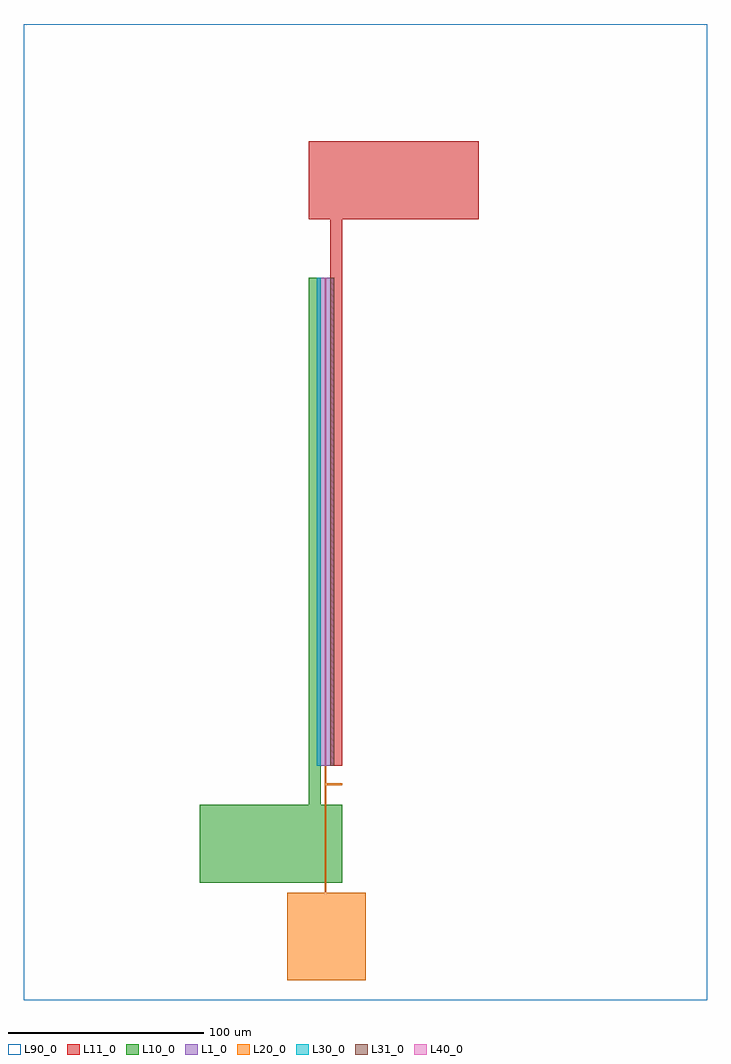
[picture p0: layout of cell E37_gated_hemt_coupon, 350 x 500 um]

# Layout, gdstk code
import gdstk
lib = gdstk.Library(unit=1e-6, precision=1e-09)
def R(c, l, rs):  # rectangles x0, y0, x1, y1
    for r in rs: c.add(gdstk.rectangle(r[:2], r[2:], *l))
L1_0 = (1, 0)
L10_0 = (10, 0)
L11_0 = (11, 0)
L20_0 = (20, 0)
L30_0 = (30, 0)
L31_0 = (31, 0)
L40_0 = (40, 0)
L90_0 = (90, 0)

gated_coupon_a = lib.new_cell('GATED_COUPON_A')
R(gated_coupon_a, L1_0, [(0,0,9,250)])
R(gated_coupon_a, L10_0, [(-4,-50,2,250)])
R(gated_coupon_a, L11_0, [(7,0,13,320)])
R(gated_coupon_a, L20_0, [(4,-10,5,250)])
R(gated_coupon_a, L30_0, [(0,0,2,250)])
R(gated_coupon_a, L31_0, [(7,0,9,250)])
R(gated_coupon_a, L40_0, [(4,0,5,250)])

e37_gated_hemt_coupon = lib.new_cell('E37_gated_hemt_coupon')
R(e37_gated_hemt_coupon, L10_0, [(90,60,163,100)])
R(e37_gated_hemt_coupon, L11_0, [(146,400,233,440)])
R(e37_gated_hemt_coupon, L20_0, [(135,10,175,55), (154,50,155,111), (154,110,163,111)])
R(e37_gated_hemt_coupon, L90_0, [(0,0,350,500)])
e37_gated_hemt_coupon.add(gdstk.Reference(gated_coupon_a, (150,120)))

lib.write_gds('E37_gated_hemt_coupon.gds')
